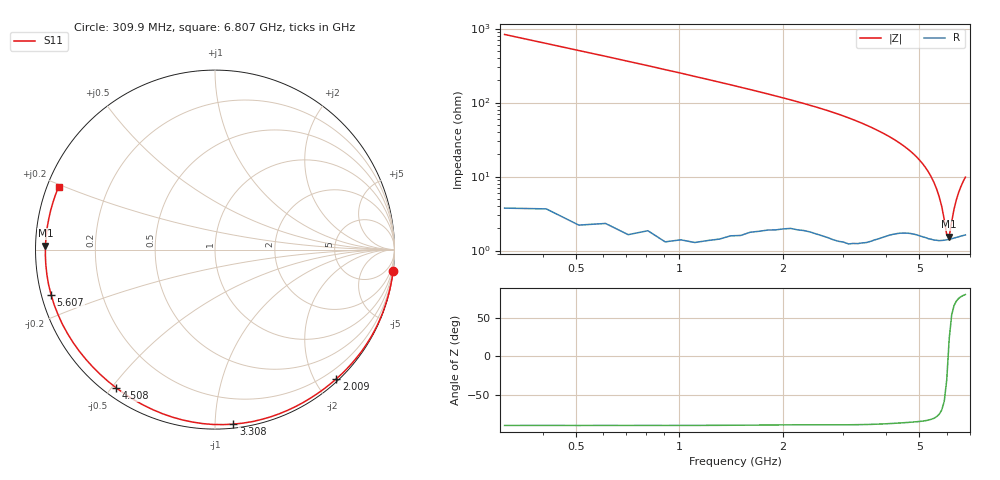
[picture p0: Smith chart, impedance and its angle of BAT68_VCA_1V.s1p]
! Infineon Technologies  Discrete & RF Semiconductors
! BAT68
! VCA = 1 V
! One-Port S-Parameters
# Hz  S  MA  R  50
!f  S11
!Hz  Mag  Ang
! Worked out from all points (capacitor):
!   66 points, 309.9 MHz to 6.807 GHz, reference 50 ohm
!   read as one part to ground: C = 615 fF near 309.9 MHz
!   lowest |Z| = 1.54 ohm at 6.107 GHz (marker M1)
!   series resonance near 6.065 GHz, so ESL is about 1.1 nH
!   S11 on the Smith chart (normalised r, x): 309.9 MHz: 0, -17; 2.009 GHz: 0.04, -2.31; 3.308 GHz: 0.02, -1.11; 4.508 GHz: 0.03, -0.52; 5.607 GHz: 0.03, -0.13; 6.807 GHz: 0.03, +0.19
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3.0985e8  0.9995 -6.9
5.0975e8  0.9991 -11.3
8.096e8  0.9982 -18.0
1.2094e9  0.997 -27.3
1.6092e9  0.9929 -36.9
2.009e9  0.9877 -46.9
2.30885e9  0.9844 -54.6
2.50875e9  0.9834 -60.0
2.8086e9  0.9824 -68.5
3.10845e9  0.9808 -77.7
3.30835e9  0.978 -84.0
3.50825e9  0.9743 -90.7
3.6082e9  0.9718 -94.0
3.8081e9  0.9662 -100.9
4.008e9  0.9599 -107.8
4.2079e9  0.9538 -114.8
4.4078e9  0.9488 -121.9
4.50775e9  0.947 -125.4
4.70765e9  0.9445 -132.5
4.90755e9  0.9441 -139.7
5.2074e9  0.9455 -150.4
5.4073e9  0.9466 -157.6
5.6072e9  0.9473 -164.6
5.8071e9  0.9469 -171.5
6.007e9  0.9456 -178.1
6.10695e9  0.9448 178.6
6.4068e9  0.9419 169.4
6.8066e9  0.9392 158.1
